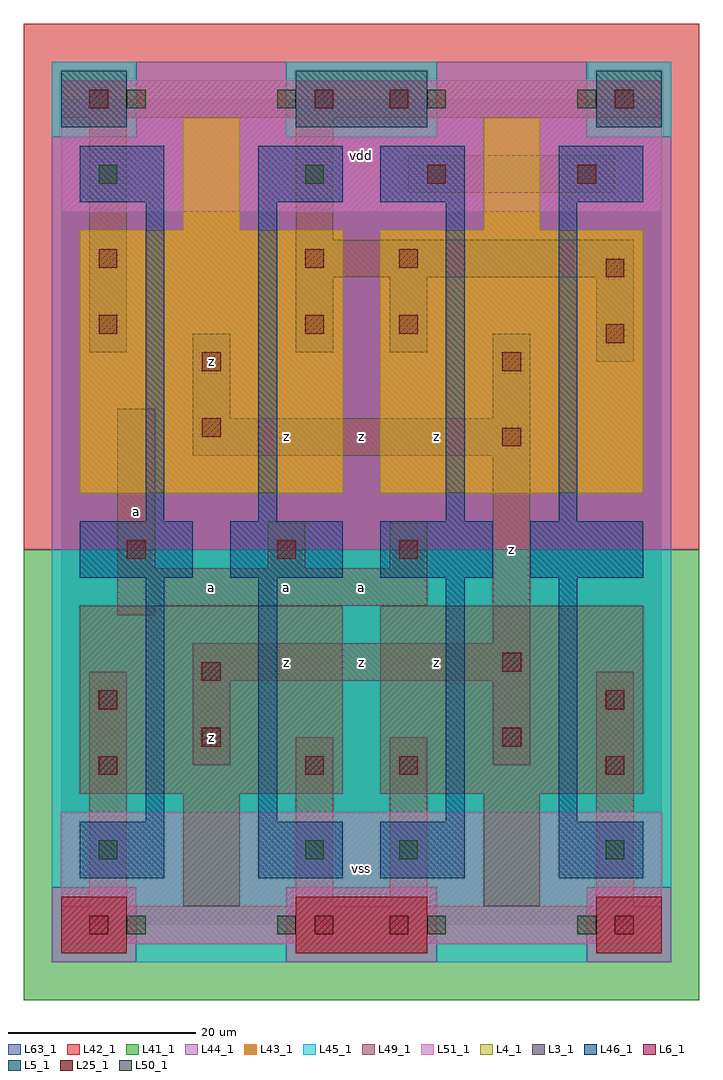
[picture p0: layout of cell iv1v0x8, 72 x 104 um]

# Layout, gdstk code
import gdstk
lib = gdstk.Library(unit=1e-6, precision=1e-09)
def R(c, l, rs):  # rectangles x0, y0, x1, y1
    for r in rs: c.add(gdstk.rectangle(r[:2], r[2:], *l))
def A(c, l, x, y, w, h, nx, ny, dx, dy):  # array of equal rectangles
    R(c, l, [(x+i*dx, y+j*dy, x+i*dx+w, y+j*dy+h) for i in range(nx) for j in range(ny)])
L3_1 = (3, 1)
L4_1 = (4, 1)
L5_1 = (5, 1)
L6_1 = (6, 1)
L25_1 = (25, 1)
L41_1 = (41, 1)
L42_1 = (42, 1)
L43_1 = (43, 1)
L44_1 = (44, 1)
L45_1 = (45, 1)
L46_1 = (46, 1)
L49_1 = (49, 1)
L50_1 = (50, 1)
L51_1 = (51, 1)
L63_1 = (63, 1)

iv1v0x8 = lib.new_cell('iv1v0x8')
R(iv1v0x8, L3_1, [(13,2,19,14), (45,2,51,14), (2,14,30,34), (34,14,62,34)])
R(iv1v0x8, L4_1, [(2,46,30,74), (34,46,62,74), (13,74,19,86), (45,74,51,86)])
R(iv1v0x8, L5_1, [(0,85,7,91), (25,85,39,91), (57,85,64,91)])
R(iv1v0x8, L6_1, [(0,-3,7,3), (0,-3,7,3), (25,-3,39,3), (25,-3,39,3), (57,-3,64,3), (57,-3,64,3)])
R(iv1v0x8, L25_1, [(3,-1,5,1), (27,-1,29,1), (35,-1,37,1), (59,-1,61,1), (4,16,6,18), (26,16,28,18), (36,16,38,18), (58,16,60,18), (15,19,17,21), (47,19,49,21), (4,23,6,25), (58,23,60,25), (15,26,17,28), (47,27,49,29), (7,39,9,41), (23,39,25,41), (36,39,38,41), (47,51,49,53), (15,52,17,54), (15,59,17,61), (47,59,49,61), (58,62,60,64), (4,63,6,65), (26,63,28,65), (36,63,38,65), (58,69,60,71), (4,70,6,72), (26,70,28,72), (36,70,38,72), (39,79,41,81), (55,79,57,81), (3,87,5,89), (27,87,29,89), (35,87,37,89), (59,87,61,89)])
R(iv1v0x8, L41_1, [(-4,-8,68,40)])
R(iv1v0x8, L42_1, [(-4,40,68,96)])
R(iv1v0x8, L43_1, [(0,-3,7,3), (25,-3,39,3), (57,-3,64,3), (13,2,19,14), (45,2,51,14), (2,14,30,34), (34,14,62,34), (2,46,30,74), (34,46,62,74), (13,74,19,86), (45,74,51,86), (0,85,7,91), (25,85,39,91), (57,85,64,91)])
R(iv1v0x8, L44_1, [(-1,-4,8,4), (24,-4,40,4), (56,-4,65,4), (-1,40,65,84), (8,84,24,92), (40,84,56,92)])
R(iv1v0x8, L45_1, [(8,-4,24,4), (40,-4,56,4), (-1,4,65,40), (-1,84,8,92), (24,84,40,92), (56,84,65,92)])
A(iv1v0x8, L46_1, 2, 37, 12, 6, 4, 1, 16, 0)
R(iv1v0x8, L46_1, [(2,5,11,11), (21,5,30,11), (34,5,43,11), (53,5,62,11), (9,11,11,37), (21,11,23,37), (41,11,43,37), (53,11,55,37), (9,43,11,77), (21,43,23,77), (41,43,43,77), (53,43,55,77), (2,77,11,83), (21,77,30,83), (34,77,43,83), (53,77,62,83)])
R(iv1v0x8, L49_1, [(0,-2,64,2), (3,2,7,27), (25,2,29,20), (35,2,39,20), (57,2,61,27), (14,17,18,26), (46,17,50,26), (14,26,50,30), (46,30,50,50), (6,33,10,34), (6,34,39,38), (6,38,10,55), (22,38,26,43), (35,38,39,43), (14,50,50,54), (14,54,18,63), (46,54,50,63), (57,60,61,69), (3,61,7,86), (25,61,29,69), (35,61,39,69), (25,69,61,73), (25,73,29,86), (37,78,59,82), (0,86,64,90)])
A(iv1v0x8, L50_1, 7, -1, 2, 2, 4, 2, 16, 88)
R(iv1v0x8, L50_1, [(4,7,6,9), (26,7,28,9), (36,7,38,9), (58,7,60,9), (4,79,6,81), (26,79,28,81)])
R(iv1v0x8, L51_1, [(0,-2,64,12), (0,76,64,90)])
R(iv1v0x8, L63_1, [(0,0,64,88)])
iv1v0x8.add(gdstk.Label('a', (8,44), layer=49, texttype=1))
iv1v0x8.add(gdstk.Label('z', (16,20), layer=49, texttype=1))
iv1v0x8.add(gdstk.Label('a', (16,36), layer=49, texttype=1))
iv1v0x8.add(gdstk.Label('z', (16,60), layer=49, texttype=1))
iv1v0x8.add(gdstk.Label('z', (24,28), layer=49, texttype=1))
iv1v0x8.add(gdstk.Label('z', (32,28), layer=49, texttype=1))
iv1v0x8.add(gdstk.Label('a', (32,36), layer=49, texttype=1))
iv1v0x8.add(gdstk.Label('a', (24,36), layer=49, texttype=1))
iv1v0x8.add(gdstk.Label('z', (32,52), layer=49, texttype=1))
iv1v0x8.add(gdstk.Label('z', (24,52), layer=49, texttype=1))
iv1v0x8.add(gdstk.Label('z', (40,28), layer=49, texttype=1))
iv1v0x8.add(gdstk.Label('z', (48,40), layer=49, texttype=1))
iv1v0x8.add(gdstk.Label('z', (40,52), layer=49, texttype=1))
iv1v0x8.add(gdstk.Label('vss', (32,6), layer=51, texttype=1))
iv1v0x8.add(gdstk.Label('vdd', (32,82), layer=51, texttype=1))

lib.write_gds('iv1v0x8.gds')
